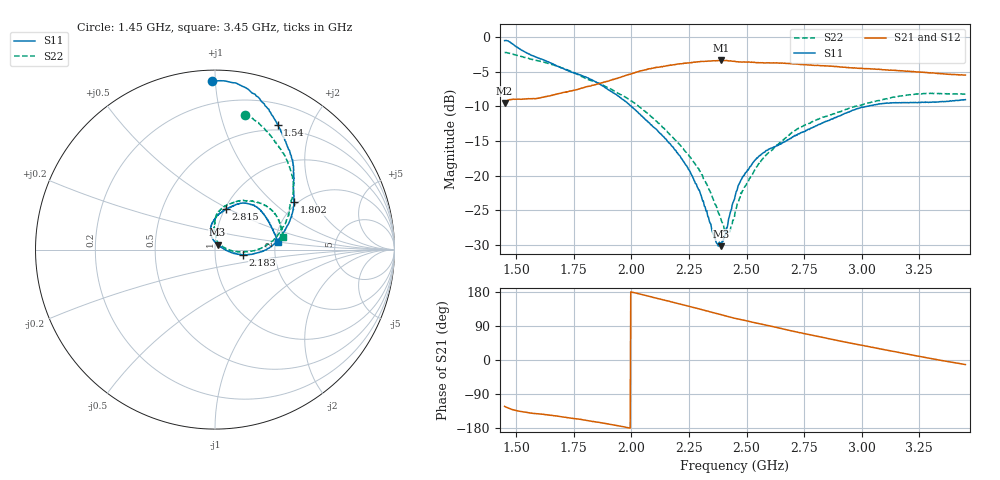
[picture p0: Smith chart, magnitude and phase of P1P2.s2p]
!Agilent Technologies,E8363B,MY43030801,A.06.04.21
!Agilent E8363B: A.06.04.21
!Date: Friday, October 24, 2025 08:31:27
!Correction: S11(Full 2 Port(1,2)) S21(Full 2 Port(1,2)) S12(Full 2 Port(1,2)) S22(Full 2 Port(1,2))
!S2P File: Measurements: S11, S21, S12, S22:
# Hz S  MA  R 50
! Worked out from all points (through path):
!   801 points, 1.45 GHz to 3.45 GHz, reference 50 ohm
!   highest |S21| = -3.40 dB at 2.39 GHz (marker M1); lowest = -9.5 dB at 1.45 GHz (marker M2)
!   lowest |S11| = -30.2 dB at 2.39 GHz (marker M3), VSWR 1.06, Z = 51.4 + j2.84 ohm
!   |S11| at or under -10 dB: 1.999 GHz to 3.025 GHz (1.026 GHz wide, 40.8 % of centre)
!   |S22| runs from -28.3 to -2.3 dB; largest |S21 - S12| = 0.0066
!   S11 on the Smith chart (normalised r, x): 1.45 GHz: 0.06, +0.98; 1.54 GHz: 0.44, +1.53; 1.802 GHz: 1.92, +1.38; 2.183 GHz: 1.37, -0.08; 2.815 GHz: 1.02, +0.48; 3.45 GHz: 2.06, +0.20
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1.45e9  0.9388 91.2  0.3336 -122.4  0.3335 -122.8  0.7706 77.6
1.4875e9  0.8825 74.1  0.3552 -131.4  0.3557 -131.8  0.7472 71.3
1.54e9  0.7756 63.3  0.3567 -137.6  0.357 -137.8  0.7085 64.5
1.67e9  0.625 45.6  0.3845 -147.3  0.3856 -147.4  0.6211 48.1
1.785e9  0.5261 33.3  0.4273 -157.3  0.427 -157.6  0.517 33.8
1.8025e9  0.5141 31.0  0.4353 -158.9  0.4373 -159.4  0.5021 32.2
1.9825e9  0.3345 5.9  0.5315 -178.2  0.5322 -178.4  0.3611 13.4
2.1175e9  0.2072 -7.2  0.6042 161.9  0.6048 161.6  0.2385 0.3
2.1825e9  0.1596 -10.6  0.629 152.1  0.6314 151.9  0.1867 -3.3
2.2475e9  0.1112 -10.9  0.6483 142.1  0.6516 141.8  0.1417 -4.9
2.3e9  0.07404 -5.8  0.6643 133.9  0.663 133.8  0.1057 -5.1
2.365e9  0.03456 27.4  0.6712 123.6  0.6728 123.3  0.06161 5.8
2.39e9  0.03103 62.8  0.6758 119.5  0.6754 119.3  0.04804 17.4
2.42e9  0.04585 94.7  0.6704 114.6  0.6731 114.4  0.03903 48.7
2.45e9  0.07044 105.6  0.6658 109.9  0.6642 109.7  0.05391 81.1
2.485e9  0.09822 102.9  0.6567 105.7  0.6606 105.3  0.07829 87.4
2.565e9  0.143 97.5  0.6497 94.6  0.6524 94.4  0.1288 91.5
2.6975e9  0.1884 86.7  0.6391 76.7  0.6427 76.3  0.2051 86.5
2.785e9  0.2213 77.8  0.6232 65.4  0.6256 65.2  0.2451 78.0
2.815e9  0.234 74.5  0.6202 61.6  0.6217 61.3  0.2564 75.1
3.1175e9  0.3324 44.1  0.5745 25.0  0.578 24.8  0.3603 45.9
3.45e9  0.3526 6.9  0.5301 -12.0  0.5306 -12.4  0.387 10.4
